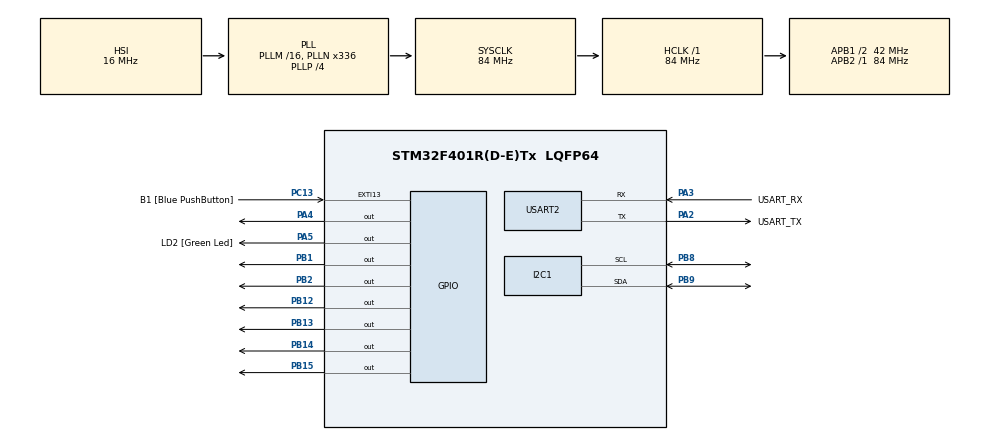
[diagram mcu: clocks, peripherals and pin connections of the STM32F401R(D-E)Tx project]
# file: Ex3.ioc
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Dma.I2C1_RX.0.Direction=DMA_PERIPH_TO_MEMORY
Dma.I2C1_RX.0.FIFOMode=DMA_FIFOMODE_DISABLE
Dma.I2C1_RX.0.Instance=DMA1_Stream0
Dma.I2C1_RX.0.MemDataAlignment=DMA_MDATAALIGN_BYTE
Dma.I2C1_RX.0.MemInc=DMA_MINC_ENABLE
Dma.I2C1_RX.0.Mode=DMA_NORMAL
Dma.I2C1_RX.0.PeriphDataAlignment=DMA_PDATAALIGN_BYTE
Dma.I2C1_RX.0.PeriphInc=DMA_PINC_DISABLE
Dma.I2C1_RX.0.Priority=DMA_PRIORITY_LOW
Dma.Request0=I2C1_RX
Dma.Request1=USART2_TX
Dma.USART2_TX.1.Direction=DMA_MEMORY_TO_PERIPH
Dma.USART2_TX.1.FIFOMode=DMA_FIFOMODE_DISABLE
Dma.USART2_TX.1.Instance=DMA1_Stream6
Dma.USART2_TX.1.MemDataAlignment=DMA_MDATAALIGN_BYTE
Dma.USART2_TX.1.MemInc=DMA_MINC_ENABLE
Dma.USART2_TX.1.Mode=DMA_NORMAL
Dma.USART2_TX.1.PeriphDataAlignment=DMA_PDATAALIGN_BYTE
Dma.USART2_TX.1.PeriphInc=DMA_PINC_DISABLE
Dma.USART2_TX.1.Priority=DMA_PRIORITY_LOW
Mcu.Family=STM32F4
Mcu.Name=STM32F401R(D-E)Tx
Mcu.Package=LQFP64
NVIC.DMA1_Stream0_IRQn=true\:0\:0\:false\:false\:true\:false\:true\:true
NVIC.DMA1_Stream6_IRQn=true\:0\:0\:false\:false\:true\:false\:true\:true
NVIC.I2C1_EV_IRQn=true\:0\:0\:false\:false\:true\:true\:true\:true
NVIC.PriorityGroup=NVIC_PRIORITYGROUP_0
NVIC.TIM1_UP_TIM10_IRQn=true\:0\:0\:false\:false\:true\:true\:true\:true
NVIC.USART2_IRQn=true\:0\:0\:false\:false\:true\:true\:true\:true
PA13.GPIO_Label=TMS
PA13.Mode=Serial_Wire
PA13.Signal=SYS_JTMS-SWDIO
PA14.GPIO_Label=TCK
PA14.Mode=Serial_Wire
PA14.Signal=SYS_JTCK-SWCLK
PA2.GPIO_Label=USART_TX
PA2.GPIO_Mode=GPIO_MODE_AF_PP
PA2.GPIO_PuPd=GPIO_NOPULL
PA2.GPIO_Speed=GPIO_SPEED_FREQ_LOW
PA2.Mode=Asynchronous
PA2.Signal=USART2_TX
PA3.GPIO_Label=USART_RX
PA3.GPIO_Mode=GPIO_MODE_AF_PP
PA3.GPIO_PuPd=GPIO_NOPULL
PA3.GPIO_Speed=GPIO_SPEED_FREQ_LOW
PA3.Mode=Asynchronous
PA3.Signal=USART2_RX
PA4.Signal=GPIO_Output
PA5.GPIO_Label=LD2 [Green Led]
PA5.GPIO_Mode=GPIO_MODE_OUTPUT_PP
PA5.GPIO_PuPd=GPIO_NOPULL
PA5.GPIO_Speed=GPIO_SPEED_FREQ_LOW
PA5.Signal=GPIO_Output
PB1.Signal=GPIO_Output
PB12.Signal=GPIO_Output
PB13.Signal=GPIO_Output
PB14.Signal=GPIO_Output
PB15.Signal=GPIO_Output
PB2.Signal=GPIO_Output
PB3.GPIO_Label=SWO
PB3.Signal=SYS_JTDO-SWO
PB8.Mode=I2C
PB8.Signal=I2C1_SCL
PB9.Mode=I2C
PB9.Signal=I2C1_SDA
PC13-ANTI_TAMP.GPIO_Label=B1 [Blue PushButton]
PC13-ANTI_TAMP.GPIO_ModeDefaultEXTI=GPIO_MODE_IT_FALLING
PC13-ANTI_TAMP.GPIO_PuPd=GPIO_NOPULL
PC13-ANTI_TAMP.Signal=GPXTI13
PC14-OSC32_IN.Mode=LSE-External-Oscillator
PC14-OSC32_IN.Signal=RCC_OSC32_IN
PC15-OSC32_OUT.Mode=LSE-External-Oscillator
PC15-OSC32_OUT.Signal=RCC_OSC32_OUT
PH0\ -\ OSC_IN.Mode=HSE-External-Clock-Source
PH0\ -\ OSC_IN.Signal=RCC_OSC_IN
PH1\ -\ OSC_OUT.Mode=HSE-External-Clock-Source
PH1\ -\ OSC_OUT.Signal=RCC_OSC_OUT
ProjectManager.HeapSize=0x200
ProjectManager.StackSize=0x400
ProjectManager.TargetToolchain=STM32CubeIDE
RCC.48MHZClocksFreq_Value=48000000
RCC.AHBFreq_Value=84000000
RCC.APB1CLKDivider=RCC_HCLK_DIV2
RCC.APB1Freq_Value=42000000
RCC.APB1TimFreq_Value=84000000
RCC.APB2Freq_Value=84000000
RCC.APB2TimFreq_Value=84000000
RCC.CortexFreq_Value=84000000
RCC.HCLKFreq_Value=84000000
RCC.HSE_VALUE=8000000
RCC.HSI_VALUE=16000000
RCC.PLLN=336
RCC.PLLP=RCC_PLLP_DIV4
RCC.PLLQ=7
RCC.SYSCLKFreq_VALUE=84000000
RCC.SYSCLKSource=RCC_SYSCLKSOURCE_PLLCLK
RCC.VCOOutputFreq_Value=336000000
TIM1.Period=10000-1
TIM1.Prescaler=8400-1
USART2.VirtualMode=VM_ASYNC
VP_TIM1_VS_ClockSourceINT.Mode=Internal
board=NUCLEO-F401RE

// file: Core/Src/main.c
/* USER CODE BEGIN Header */
/**
  **************************
  * @file           : main.c
  * @brief          : Main program body
  **************************
  * @attention
  *
  * Copyright (c) 2023 STMicroelectronics.
  * All rights reserved.
  *
  * This software is licensed under terms that can be found in the LICENSE file
  * in the root directory of this software component.
  * If no LICENSE file comes with this software, it is provided AS-IS.
  *
  **************************
  */
/* USER CODE END Header */
#include "main.h"

/* USER CODE BEGIN Includes */
#include "PMDB16_LCD.h"
/* USER CODE END Includes */

/* USER CODE BEGIN PD */
#define ACCEL_ADDRESS_V1 0b0101000
#define ACCEL_ADDRESS_V2 0b0101000
#define READBIT 0x01
#define WRITEBIT 0x00

/* USER CODE END PD */

I2C_HandleTypeDef hi2c1;
DMA_HandleTypeDef hdma_i2c1_rx;

TIM_HandleTypeDef htim1;

UART_HandleTypeDef huart2;
DMA_HandleTypeDef hdma_usart2_tx;

/* USER CODE BEGIN PV */
volatile uint32_t ACCEL_ADDRESS = 0;
volatile char timer_finished = 0;
int8_t values[5]={0,0,0,0,0};
float acc_g_x;
float acc_g_y;
float acc_g_z;
volatile uint8_t out_add=0xa9;
/* USER CODE END PV */

void SystemClock_Config(void);
static void MX_GPIO_Init(void);
static void MX_DMA_Init(void);
static void MX_USART2_UART_Init(void);
static void MX_I2C1_Init(void);
static void MX_TIM1_Init(void);

/* USER CODE BEGIN 0 */
void HAL_TIM_PeriodElapsedCallback(TIM_HandleTypeDef *htim) {
	if (htim != &htim1) return;
	timer_finished = 1;
}
void HAL_I2C_MasterRxCpltCallback(I2C_HandleTypeDef *hi2c){
	acc_g_x=values[0]/64.0;
	acc_g_y=values[2]/64.0;
	acc_g_z=values[4]/64.0;
	if(acc_g_z>0){
		lcd_println("alto", 0);
	}else if(acc_g_z<0){
		lcd_println("basso", 0);
	}else{
		lcd_println("verticale", 0);
	}
}
/* USER CODE END 0 */

int main(void)
{

  /* MCU Configuration--------------------------------------------------------*/

  /* Reset of all peripherals, Initializes the Flash interface and the Systick. */
  HAL_Init();

  /* Configure the system clock */
  SystemClock_Config();

  /* Initialize all configured peripherals */
  MX_GPIO_Init();
  MX_DMA_Init();
  MX_USART2_UART_Init();
  lcd_initialize();
  lcd_backlight_ON();
  MX_I2C1_Init();
  MX_TIM1_Init();
  /* USER CODE BEGIN 2 */
  char stringa[64];
	uint8_t data[5];

	int length = snprintf(stringa, sizeof(stringa), "-----\n\r");
	HAL_UART_Transmit(&huart2, stringa, length, 100);

	// REG_ADDRESS | 4-bit config | LOW_POWER | ZYX
	uint8_t mode = 0b0001;
	uint8_t low_power = 0b0;
	uint8_t axis = 0b111;

	uint8_t CTRL_REG1[] = {0x20, (mode << 4) | (low_power << 3) | (axis)};
	uint8_t CTRL_REG2[] = {0x21, 0x00};
	uint8_t CTRL_REG4[] = {0x23, 0x00};

	if (HAL_I2C_Master_Transmit(&hi2c1, (ACCEL_ADDRESS_V1 << 1) | WRITEBIT, CTRL_REG1, sizeof(CTRL_REG1), 200) == HAL_OK) {
	  ACCEL_ADDRESS = ACCEL_ADDRESS_V1;
	} else if (HAL_I2C_Master_Transmit(&hi2c1, (ACCEL_ADDRESS_V2 << 1) | WRITEBIT, CTRL_REG1, sizeof(CTRL_REG1), 200) == HAL_OK) {
	  ACCEL_ADDRESS = ACCEL_ADDRESS_V2;
	} else {
	  int length = snprintf(stringa, sizeof(stringa), "Error: incorrect accelerator address\n\r");
	  HAL_UART_Transmit_DMA(&huart2, stringa, length);
	}

	HAL_I2C_Master_Transmit(&hi2c1, (ACCEL_ADDRESS << 1) | WRITEBIT, CTRL_REG2, sizeof(CTRL_REG2), 200);
	HAL_I2C_Master_Transmit(&hi2c1, (ACCEL_ADDRESS << 1) | WRITEBIT, CTRL_REG4, sizeof(CTRL_REG4), 200);

	HAL_TIM_Base_Start_IT(&htim1);

  /* USER CODE END 2 */

  /* Infinite loop */
  /* USER CODE BEGIN WHILE */
  while (1)
  {
	  if (!timer_finished) continue;
	  timer_finished = 0;

	  HAL_I2C_Master_Transmit(&hi2c1, (ACCEL_ADDRESS<<1), &out_add, 1, 200);
	  HAL_I2C_Master_Receive_DMA(&hi2c1, (ACCEL_ADDRESS<<1)+1, values, 5);

    /* USER CODE END WHILE */

  }
}

void SystemClock_Config(void)
{
  RCC_OscInitTypeDef RCC_OscInitStruct = {0};
  RCC_ClkInitTypeDef RCC_ClkInitStruct = {0};

  /** Configure the main internal regulator output voltage
  */
  __HAL_RCC_PWR_CLK_ENABLE();
  __HAL_PWR_VOLTAGESCALING_CONFIG(PWR_REGULATOR_VOLTAGE_SCALE2);

  /** Initializes the RCC Oscillators according to the specified parameters
  * in the RCC_OscInitTypeDef structure.
  */
  RCC_OscInitStruct.OscillatorType = RCC_OSCILLATORTYPE_HSI;
  RCC_OscInitStruct.HSIState = RCC_HSI_ON;
  RCC_OscInitStruct.HSICalibrationValue = RCC_HSICALIBRATION_DEFAULT;
  RCC_OscInitStruct.PLL.PLLState = RCC_PLL_ON;
  RCC_OscInitStruct.PLL.PLLSource = RCC_PLLSOURCE_HSI;
  RCC_OscInitStruct.PLL.PLLM = 16;
  RCC_OscInitStruct.PLL.PLLN = 336;
  RCC_OscInitStruct.PLL.PLLP = RCC_PLLP_DIV4;
  RCC_OscInitStruct.PLL.PLLQ = 7;
  if (HAL_RCC_OscConfig(&RCC_OscInitStruct) != HAL_OK)
  {
    Error_Handler();
  }

  /** Initializes the CPU, AHB and APB buses clocks
  */
  RCC_ClkInitStruct.ClockType = RCC_CLOCKTYPE_HCLK|RCC_CLOCKTYPE_SYSCLK
                              |RCC_CLOCKTYPE_PCLK1|RCC_CLOCKTYPE_PCLK2;
  RCC_ClkInitStruct.SYSCLKSource = RCC_SYSCLKSOURCE_PLLCLK;
  RCC_ClkInitStruct.AHBCLKDivider = RCC_SYSCLK_DIV1;
  RCC_ClkInitStruct.APB1CLKDivider = RCC_HCLK_DIV2;
  RCC_ClkInitStruct.APB2CLKDivider = RCC_HCLK_DIV1;

  if (HAL_RCC_ClockConfig(&RCC_ClkInitStruct, FLASH_LATENCY_2) != HAL_OK)
  {
    Error_Handler();
  }
}

static void MX_I2C1_Init(void)
{

  hi2c1.Instance = I2C1;
  hi2c1.Init.ClockSpeed = 100000;
  hi2c1.Init.DutyCycle = I2C_DUTYCYCLE_2;
  hi2c1.Init.OwnAddress1 = 0;
  hi2c1.Init.AddressingMode = I2C_ADDRESSINGMODE_7BIT;
  hi2c1.Init.DualAddressMode = I2C_DUALADDRESS_DISABLE;
  hi2c1.Init.OwnAddress2 = 0;
  hi2c1.Init.GeneralCallMode = I2C_GENERALCALL_DISABLE;
  hi2c1.Init.NoStretchMode = I2C_NOSTRETCH_DISABLE;
  if (HAL_I2C_Init(&hi2c1) != HAL_OK)
  {
    Error_Handler();
  }

}

static void MX_TIM1_Init(void)
{

  TIM_ClockConfigTypeDef sClockSourceConfig = {0};
  TIM_MasterConfigTypeDef sMasterConfig = {0};

  htim1.Instance = TIM1;
  htim1.Init.Prescaler = 8400-1;
  htim1.Init.CounterMode = TIM_COUNTERMODE_UP;
  htim1.Init.Period = 10000-1;
  htim1.Init.ClockDivision = TIM_CLOCKDIVISION_DIV1;
  htim1.Init.RepetitionCounter = 0;
  htim1.Init.AutoReloadPreload = TIM_AUTORELOAD_PRELOAD_DISABLE;
  if (HAL_TIM_Base_Init(&htim1) != HAL_OK)
  {
    Error_Handler();
  }
  sClockSourceConfig.ClockSource = TIM_CLOCKSOURCE_INTERNAL;
  if (HAL_TIM_ConfigClockSource(&htim1, &sClockSourceConfig) != HAL_OK)
  {
    Error_Handler();
  }
  sMasterConfig.MasterOutputTrigger = TIM_TRGO_RESET;
  sMasterConfig.MasterSlaveMode = TIM_MASTERSLAVEMODE_DISABLE;
  if (HAL_TIMEx_MasterConfigSynchronization(&htim1, &sMasterConfig) != HAL_OK)
  {
    Error_Handler();
  }

}

static void MX_USART2_UART_Init(void)
{

  huart2.Instance = USART2;
  huart2.Init.BaudRate = 115200;
  huart2.Init.WordLength = UART_WORDLENGTH_8B;
  huart2.Init.StopBits = UART_STOPBITS_1;
  huart2.Init.Parity = UART_PARITY_NONE;
  huart2.Init.Mode = UART_MODE_TX_RX;
  huart2.Init.HwFlowCtl = UART_HWCONTROL_NONE;
  huart2.Init.OverSampling = UART_OVERSAMPLING_16;
  if (HAL_UART_Init(&huart2) != HAL_OK)
  {
    Error_Handler();
  }

}

static void MX_DMA_Init(void)
{

  /* DMA controller clock enable */
  __HAL_RCC_DMA1_CLK_ENABLE();

  /* DMA interrupt init */
  /* DMA1_Stream0_IRQn interrupt configuration */
  HAL_NVIC_SetPriority(DMA1_Stream0_IRQn, 0, 0);
  HAL_NVIC_EnableIRQ(DMA1_Stream0_IRQn);
  /* DMA1_Stream6_IRQn interrupt configuration */
  HAL_NVIC_SetPriority(DMA1_Stream6_IRQn, 0, 0);
  HAL_NVIC_EnableIRQ(DMA1_Stream6_IRQn);

}

static void MX_GPIO_Init(void)
{
  GPIO_InitTypeDef GPIO_InitStruct = {0};

  /* GPIO Ports Clock Enable */
  __HAL_RCC_GPIOC_CLK_ENABLE();
  __HAL_RCC_GPIOH_CLK_ENABLE();
  __HAL_RCC_GPIOA_CLK_ENABLE();
  __HAL_RCC_GPIOB_CLK_ENABLE();

  /*Configure GPIO pin Output Level */
  HAL_GPIO_WritePin(GPIOA, GPIO_PIN_4|LD2_Pin, GPIO_PIN_RESET);

  /*Configure GPIO pin Output Level */
  HAL_GPIO_WritePin(GPIOB, GPIO_PIN_1|GPIO_PIN_2|GPIO_PIN_12|GPIO_PIN_13
                          |GPIO_PIN_14|GPIO_PIN_15, GPIO_PIN_RESET);

  /*Configure GPIO pin : B1_Pin */
  GPIO_InitStruct.Pin = B1_Pin;
  GPIO_InitStruct.Mode = GPIO_MODE_IT_FALLING;
  GPIO_InitStruct.Pull = GPIO_NOPULL;
  HAL_GPIO_Init(B1_GPIO_Port, &GPIO_InitStruct);

  /*Configure GPIO pins : PA4 LD2_Pin */
  GPIO_InitStruct.Pin = GPIO_PIN_4|LD2_Pin;
  GPIO_InitStruct.Mode = GPIO_MODE_OUTPUT_PP;
  GPIO_InitStruct.Pull = GPIO_NOPULL;
  GPIO_InitStruct.Speed = GPIO_SPEED_FREQ_LOW;
  HAL_GPIO_Init(GPIOA, &GPIO_InitStruct);

  /*Configure GPIO pins : PB1 PB2 PB12 PB13
                           PB14 PB15 */
  GPIO_InitStruct.Pin = GPIO_PIN_1|GPIO_PIN_2|GPIO_PIN_12|GPIO_PIN_13
                          |GPIO_PIN_14|GPIO_PIN_15;
  GPIO_InitStruct.Mode = GPIO_MODE_OUTPUT_PP;
  GPIO_InitStruct.Pull = GPIO_NOPULL;
  GPIO_InitStruct.Speed = GPIO_SPEED_FREQ_LOW;
  HAL_GPIO_Init(GPIOB, &GPIO_InitStruct);

}

void Error_Handler(void)
{
  __disable_irq();
  while (1)
  {
  }
}
